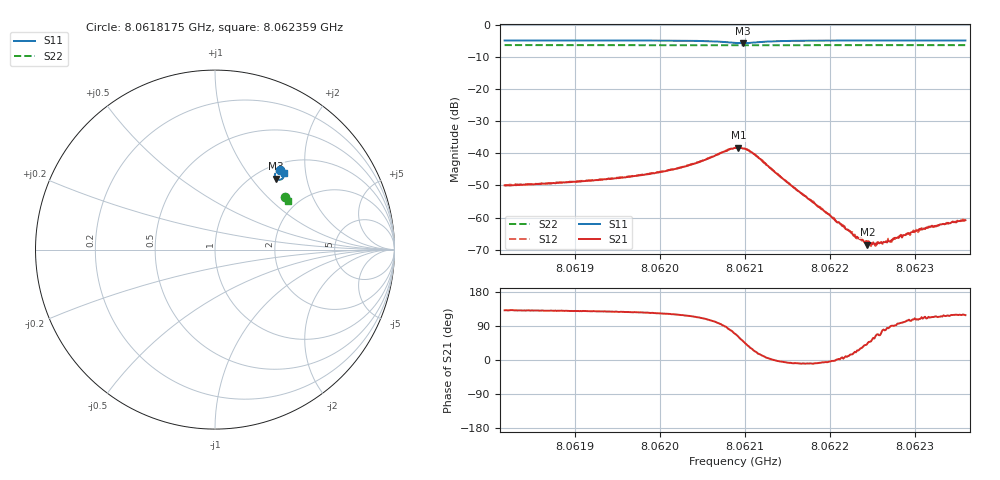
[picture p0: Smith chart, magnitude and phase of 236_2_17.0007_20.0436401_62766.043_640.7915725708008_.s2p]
#  HZ  S  RI  R  50.00
! Rohde & Schwarz Vector Network Analyzer
! Rohde-Schwarz,ZNB20-2Port,1311601062101988,3.16
! Created: UTC 3/20/2024, 11:02:41 PM
! freq[Hz]  re:S11  im:S11  re:S21  im:S21  re:S12  im:S12  re:S22  im:S22
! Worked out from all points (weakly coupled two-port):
!   401 points, 8.0618175 GHz to 8.062359 GHz, reference 50 ohm
!   highest |S21| = -38.19 dB at 8.0620923 GHz (marker M1); lowest = -68.5 dB at 8.0622439 GHz (marker M2)
!   lowest |S11| = -5.6 dB at 8.0620977 GHz (marker M3), VSWR 3.19, Z = 61.5 + j67 ohm
!   |S11| at or under -10 dB: nowhere
!   |S22| runs from -6.3 to -6.2 dB; largest |S21 - S12| = 0.00086
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8.06181752e9  0.3649 0.4454  -0.00209 0.00239  -0.00197 0.0025  0.3875 0.2958
8.06190822e9  0.3716 0.4394  -0.0023 0.00286  -0.00217 0.00302  0.3908 0.2913
8.06196237e9  0.3762 0.4345  -0.00256 0.00343  -0.00238 0.00366  0.3926 0.2885
8.06199892e9  0.3796 0.4295  -0.00276 0.00424  -0.00257 0.00444  0.3937 0.2864
8.06204089e9  0.3837 0.4182  -0.00285 0.00633  -0.00245 0.00658  0.3953 0.284
8.06208827e9  0.3575 0.389  0.00433 0.0113  0.00503 0.0112  0.3952 0.281
8.06209233e9  0.3501 0.3904  0.00592 0.0108  0.00668 0.0105  0.3948 0.2811
8.06209774e9  0.3411 0.3961  0.00767 0.00907  0.00841 0.00876  0.3947 0.281
8.06210451e9  0.3344 0.4073  0.00901 0.00655  0.00941 0.00596  0.3949 0.2815
8.06211128e9  0.3339 0.4187  0.00885 0.00381  0.00915 0.00331  0.3952 0.2817
8.06214512e9  0.3546 0.439  0.00395 -0.000361  0.00395 -0.000588  0.3975 0.2807
8.06217897e9  0.3664 0.4387  0.00174 -0.000293  0.00175 -0.000415  0.3992 0.2787
8.06222906e9  0.3751 0.4352  0.000476 0.000188  0.000522 0.000147  0.4009 0.2761
8.06223989e9  0.3763 0.4343  0.00033 0.00026  0.000322 0.000252  0.4015 0.2755
8.06224395e9  0.3768 0.4341  0.000272 0.000262  0.000337 0.000255  0.4016 0.2754
8.06225072e9  0.3775 0.4337  0.000214 0.000349  0.000234 0.000314  0.4016 0.275
8.06226425e9  0.379 0.4327  8.49e-05 0.000404  0.000115 0.000375  0.4024 0.2743
8.06226967e9  0.3796 0.4323  3.13e-05 0.000424  6.36e-05 0.000454  0.4024 0.274
8.06229945e9  0.382 0.4304  -0.000206 0.000569  -0.000157 0.000568  0.4033 0.2726
8.06230351e9  0.3824 0.4302  -0.00018 0.00061  -0.000161 0.000568  0.4035 0.2724
8.06231705e9  0.3835 0.4294  -0.00027 0.000669  -0.000253 0.000661  0.4039 0.2716
8.06235902e9  0.3867 0.4269  -0.000433 0.000798  -0.000414 0.000821  0.4052 0.2696
